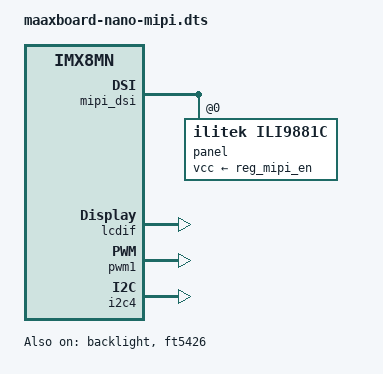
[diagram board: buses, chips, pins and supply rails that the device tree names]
/*
 * Copyright 2021 AVNET
 *
 * This program is free software; you can redistribute it and/or
 * modify it under the terms of the GNU General Public License
 * as published by the Free Software Foundation; either version 2
 * of the License, or (at your option) any later version.
 *
 * This program is distributed in the hope that it will be useful,
 * but WITHOUT ANY WARRANTY; without even the implied warranty of
 * MERCHANTABILITY or FITNESS FOR A PARTICULAR PURPOSE.  See the
 * GNU General Public License for more details.
 */

/dts-v1/;
/plugin/;

/ {
	compatible = "avnet,maaxboard-nano", "fsl,imx8mn";

	fragment@0 {
		target = <&mipi_dsi>;
		__overlay__ {
			#address-cells = <1>;
			#size-cells = <0>;
			status = "okay";
			panel@0 {
				compatible = "ilitek,ili9881c";
				reg = <0>;
				vcc-supply = <&reg_mipi_en>;
				dsi-lanes = <2>;
				status = "okay";
			};
		};
	};
	
	fragment@1 {
		target = <&lcdif>;
		__overlay__ {
			status = "okay";
		};
	};

	fragment@2 {
		target = <&pwm1>;
		__overlay__ {
			status = "okay";
		};
	};

	fragment@3 {
		target = <&backlight>;
		__overlay__ {
			status = "okay";
		};
	};

	fragment@4 {
		target = <&i2c4>;
		__overlay__ {
			status = "okay";
		};
	};

	fragment@5 {
		target = <&ft5426>;
		__overlay__ {
			status = "okay";
		};
	};
};
